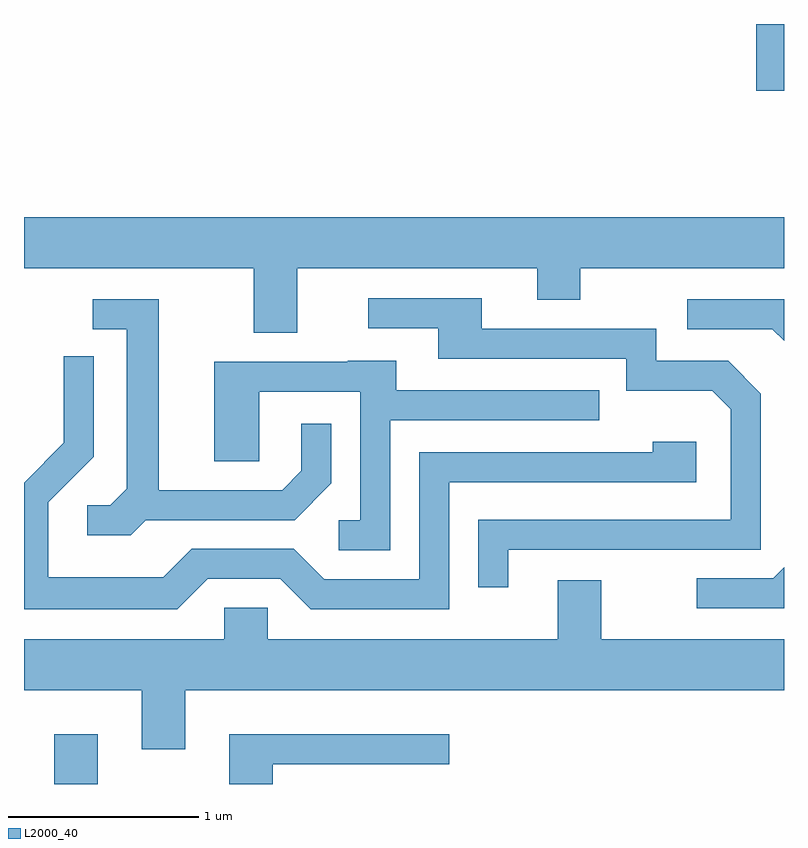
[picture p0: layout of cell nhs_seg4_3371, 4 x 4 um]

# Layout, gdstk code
import gdstk
lib = gdstk.Library(unit=1e-6, precision=1e-09)
def R(c, l, rs):  # rectangles x0, y0, x1, y1
    for r in rs: c.add(gdstk.rectangle(r[:2], r[2:], *l))
def P(c, l, *ps):  # polygons
    for p in ps: c.add(gdstk.Polygon(p, *l))
L2000_40 = (2000, 40)

nhs_seg4_3371 = lib.new_cell('nhs_seg4_3371')
R(nhs_seg4_3371, L2000_40, [(283.771,1331.982,283.999,1332.244), (287.466,1335.631,287.611,1335.982)])
P(nhs_seg4_3371, L2000_40, [(285.049,1334.696),(286.311,1334.696),(286.311,1334.531),(286.539,1334.531),(286.539,1334.696),(287.611,1334.696),(287.611,1334.964),(283.611,1334.964),(283.611,1334.696),(284.821,1334.696),(284.821,1334.356),(285.049,1334.356)],
  [(286.159,1333.216),(287.489,1333.216),(287.489,1334.037),(287.317,1334.209),(286.939,1334.209),(286.939,1334.379),(286.019,1334.379),(286.019,1334.539),(285.423,1334.539),(285.423,1334.381),(285.791,1334.381),(285.791,1334.221),(286.781,1334.221),(286.781,1334.051),(287.234,1334.051),(287.331,1333.954),(287.331,1333.374),(286.001,1333.374),(286.001,1333.018),(286.159,1333.018)],
  [(287.611,1334.534),(287.103,1334.534),(287.103,1334.376),(287.549,1334.376),(287.611,1334.314)],
  [(284.252,1333.371),(285.037,1333.371),(285.229,1333.564),(285.229,1333.878),(285.071,1333.878),(285.071,1333.632),(284.969,1333.529),(284.319,1333.529),(284.319,1334.534),(283.973,1334.534),(283.973,1334.376),(284.151,1334.376),(284.151,1333.537),(284.064,1333.449),(283.943,1333.449),(283.943,1333.291),(284.172,1333.291)],
  [(284.577,1333.061),(284.959,1333.061),(285.119,1332.901),(285.849,1332.901),(285.849,1333.571),(287.149,1333.571),(287.149,1333.784),(286.921,1333.784),(286.921,1333.729),(285.691,1333.729),(285.691,1333.059),(285.192,1333.059),(285.032,1333.219),(284.494,1333.219),(284.344,1333.069),(283.739,1333.069),(283.739,1333.464),(283.979,1333.704),(283.979,1334.233),(283.821,1334.233),(283.821,1333.777),(283.611,1333.567),(283.611,1332.901),(284.417,1332.901)],
  [(285.539,1333.896),(286.638,1333.896),(286.638,1334.054),(285.569,1334.054),(285.569,1334.209),(285.315,1334.209),(285.315,1334.204),(284.611,1334.204),(284.611,1333.681),(284.849,1333.681),(284.849,1334.046),(285.381,1334.046),(285.381,1333.369),(285.268,1333.369),(285.268,1333.211),(285.539,1333.211)],
  [(287.611,1333.122),(287.554,1333.064),(287.153,1333.064),(287.153,1332.906),(287.611,1332.906)],
  [(284.459,1332.476),(287.611,1332.476),(287.611,1332.744),(286.649,1332.744),(286.649,1333.054),(286.421,1333.054),(286.421,1332.744),(284.894,1332.744),(284.894,1332.909),(284.666,1332.909),(284.666,1332.744),(283.611,1332.744),(283.611,1332.476),(284.231,1332.476),(284.231,1332.166),(284.459,1332.166)],
  [(284.919,1332.086),(285.848,1332.086),(285.848,1332.244),(284.691,1332.244),(284.691,1331.982),(284.919,1331.982)])

lib.write_gds('nhs_seg4_3371.gds')
